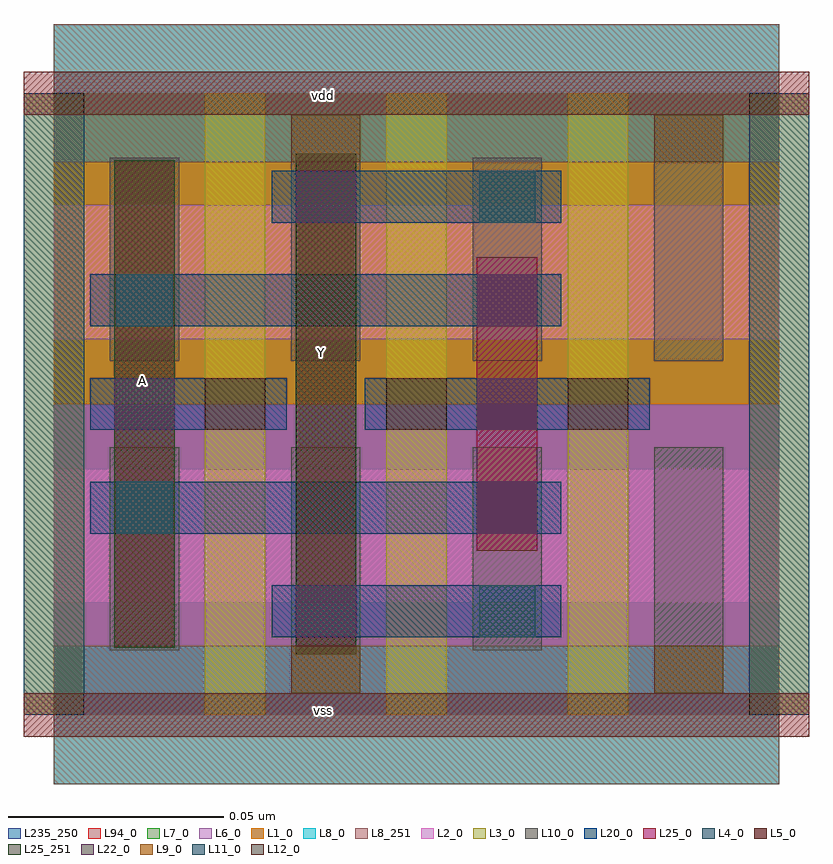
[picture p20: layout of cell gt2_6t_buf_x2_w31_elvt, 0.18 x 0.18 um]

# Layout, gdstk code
import gdstk
lib = gdstk.Library(unit=1e-6, precision=1e-10)
def R(c, l, rs):  # rectangles x0, y0, x1, y1
    for r in rs: c.add(gdstk.rectangle(r[:2], r[2:], *l))
def A(c, l, x, y, w, h, nx, ny, dx, dy):  # array of equal rectangles
    R(c, l, [(x+i*dx, y+j*dy, x+i*dx+w, y+j*dy+h) for i in range(nx) for j in range(ny)])
L1_0 = (1, 0)
L2_0 = (2, 0)
L3_0 = (3, 0)
L4_0 = (4, 0)
L5_0 = (5, 0)
L6_0 = (6, 0)
L7_0 = (7, 0)
L8_0 = (8, 0)
L8_251 = (8, 251)
L9_0 = (9, 0)
L10_0 = (10, 0)
L11_0 = (11, 0)
L12_0 = (12, 0)
L20_0 = (20, 0)
L22_0 = (22, 0)
L25_0 = (25, 0)
L25_251 = (25, 251)
L94_0 = (94, 0)
L235_250 = (235, 250)

gt2_6t_buf_x2_w31_elvt = lib.new_cell('gt2_6t_buf_x2_w31_elvt')
R(gt2_6t_buf_x2_w31_elvt, L1_0, [(0,0.072,0.168,0.144)])
R(gt2_6t_buf_x2_w31_elvt, L2_0, [(0,0.026,0.168,0.057), (0,0.087,0.168,0.118)])
A(gt2_6t_buf_x2_w31_elvt, L3_0, -0.007, 0, 0.014, 0.144, 5, 1, 0.042, 0)
R(gt2_6t_buf_x2_w31_elvt, L4_0, [(-0.007,0,0.007,0.144), (0.161,0,0.175,0.144)])
R(gt2_6t_buf_x2_w31_elvt, L5_0, [(-0.007,-0.005,0.175,0.005), (-0.007,0.139,0.175,0.149)])
R(gt2_6t_buf_x2_w31_elvt, L6_0, [(0,0,0.168,0.072)])
R(gt2_6t_buf_x2_w31_elvt, L7_0, [(0,0.072,0.168,0.144)])
R(gt2_6t_buf_x2_w31_elvt, L8_0, [(0,-0.016,0.168,0.016), (0,0.128,0.168,0.16)])
R(gt2_6t_buf_x2_w31_elvt, L8_251, [(0,-0.016,0.168,0.016), (0,0.128,0.168,0.16)])
R(gt2_6t_buf_x2_w31_elvt, L9_0, [(0.055,0.005,0.071,0.016), (0.139,0.005,0.155,0.016), (0.055,0.128,0.071,0.139), (0.139,0.128,0.155,0.139)])
R(gt2_6t_buf_x2_w31_elvt, L10_0, [(0.055,0.005,0.071,0.062), (0.139,0.005,0.155,0.062), (0.013,0.015,0.029,0.062), (0.097,0.015,0.113,0.062), (0.013,0.082,0.029,0.129), (0.055,0.082,0.071,0.139), (0.097,0.082,0.113,0.129), (0.139,0.082,0.155,0.139)])
R(gt2_6t_buf_x2_w31_elvt, L11_0, [(0.0985,0.018,0.1115,0.03), (0.0145,0.042,0.0275,0.054), (0.0145,0.09,0.0275,0.102), (0.0985,0.114,0.1115,0.126)])
A(gt2_6t_buf_x2_w31_elvt, L12_0, 0.035, 0.066, 0.014, 0.012, 3, 1, 0.042, 0)
R(gt2_6t_buf_x2_w31_elvt, L20_0, [(0.0505,0.018,0.1175,0.03), (0.0085,0.042,0.1175,0.054), (0.0085,0.066,0.054,0.078), (0.072,0.066,0.138,0.078), (0.0085,0.09,0.1175,0.102), (0.0505,0.114,0.1175,0.126)])
A(gt2_6t_buf_x2_w31_elvt, L22_0, 0.098, 0.042, 0.014, 0.012, 1, 3, 0, 0.024)
R(gt2_6t_buf_x2_w31_elvt, L22_0, [(0.056,0.018,0.07,0.03), (0.014,0.066,0.028,0.078), (0.056,0.114,0.07,0.126)])
R(gt2_6t_buf_x2_w31_elvt, L25_0, [(0.056,0.014,0.07,0.13), (0.014,0.0155,0.028,0.1285), (0.098,0.038,0.112,0.106)])
R(gt2_6t_buf_x2_w31_elvt, L25_251, [(0.056,0.014,0.07,0.13), (0.014,0.0155,0.028,0.1285)])
R(gt2_6t_buf_x2_w31_elvt, L94_0, [(0,0,0.168,0.144)])
R(gt2_6t_buf_x2_w31_elvt, L235_250, [(0,0,0.168,0.144)])
gt2_6t_buf_x2_w31_elvt.add(gdstk.Label('vdd', (0.0625,0.1435), layer=8, texttype=251))
gt2_6t_buf_x2_w31_elvt.add(gdstk.Label('vss', (0.0625,0.001), layer=8, texttype=251))
gt2_6t_buf_x2_w31_elvt.add(gdstk.Label('Y', (0.062,0.084), layer=25, texttype=251))
gt2_6t_buf_x2_w31_elvt.add(gdstk.Label('A', (0.0205,0.0775), layer=25, texttype=251))

lib.write_gds('gt2_6t_buf_x2_w31_elvt.gds')
